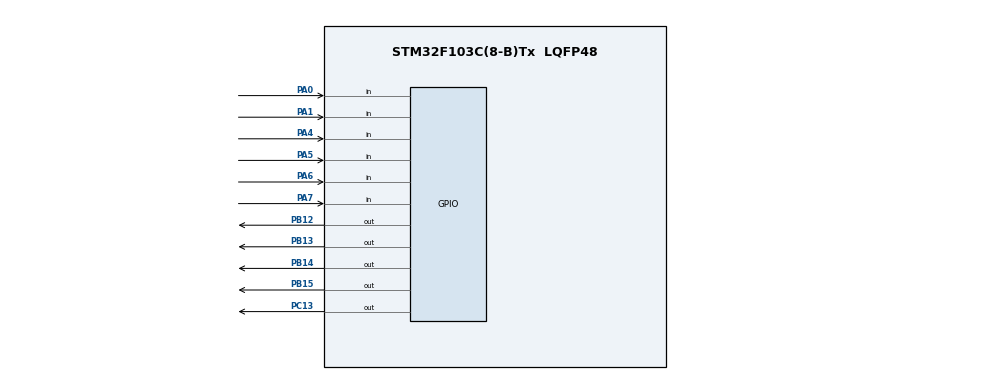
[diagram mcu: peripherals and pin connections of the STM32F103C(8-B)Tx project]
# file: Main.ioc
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Mcu.Family=STM32F1
Mcu.Name=STM32F103C(8-B)Tx
Mcu.Package=LQFP48
NVIC.PriorityGroup=NVIC_PRIORITYGROUP_4
PA0-WKUP.GPIO_PuPd=GPIO_PULLUP
PA0-WKUP.Signal=GPIO_Input
PA1.GPIO_PuPd=GPIO_PULLDOWN
PA1.Signal=GPIO_Input
PA13.Mode=Serial_Wire
PA13.Signal=SYS_JTMS-SWDIO
PA14.Mode=Serial_Wire
PA14.Signal=SYS_JTCK-SWCLK
PA4.Signal=GPIO_Input
PA5.Signal=GPIO_Input
PA6.Signal=GPIO_Input
PA7.Signal=GPIO_Input
PB12.Signal=GPIO_Output
PB13.Signal=GPIO_Output
PB14.Signal=GPIO_Output
PB15.Signal=GPIO_Output
PC13-TAMPER-RTC.PinState=GPIO_PIN_SET
PC13-TAMPER-RTC.Signal=GPIO_Output
ProjectManager.HeapSize=0x200
ProjectManager.StackSize=0x400
ProjectManager.TargetToolchain=MDK-ARM V5.32
RCC.AHBFreq_Value=8000000
RCC.APB1Freq_Value=8000000
RCC.APB1TimFreq_Value=8000000
RCC.APB2Freq_Value=8000000
RCC.APB2TimFreq_Value=8000000
RCC.HCLKFreq_Value=8000000
RCC.HSICalibrationValue=8
RCC.SYSCLKFreq_VALUE=8000000
RCC.USBFreq_Value=8000000
board=custom

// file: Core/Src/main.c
/* USER CODE BEGIN Header */
/**
  ******************************************************************************
  * @file           : main.c
  * @brief          : Main program body
  ******************************************************************************
  * @attention
  *
  * Copyright (c) 2023 STMicroelectronics.
  * All rights reserved.
  *
  * This software is licensed under terms that can be found in the LICENSE file
  * in the root directory of this software component.
  * If no LICENSE file comes with this software, it is provided AS-IS.
  *
  ******************************************************************************
  */
/* USER CODE END Header */
#include "main.h"

void SystemClock_Config(void);
static void MX_GPIO_Init(void);
/* USER CODE BEGIN PFP */
void Button1(void);
void Button2(void);
/* USER CODE END PFP */

int main(void)
{

  /* MCU Configuration--------------------------------------------------------*/

  /* Reset of all peripherals, Initializes the Flash interface and the Systick. */
  LL_APB2_GRP1_EnableClock(LL_APB2_GRP1_PERIPH_AFIO);
  LL_APB1_GRP1_EnableClock(LL_APB1_GRP1_PERIPH_PWR);

  /* System interrupt init*/
  NVIC_SetPriorityGrouping(NVIC_PRIORITYGROUP_4);

  /* SysTick_IRQn interrupt configuration */
  NVIC_SetPriority(SysTick_IRQn, NVIC_EncodePriority(NVIC_GetPriorityGrouping(),15, 0));

  /** NOJTAG: JTAG-DP Disabled and SW-DP Enabled
  */
  LL_GPIO_AF_Remap_SWJ_NOJTAG();

  /* Configure the system clock */
  SystemClock_Config();

  /* Initialize all configured peripherals */
  MX_GPIO_Init();

  /* Infinite loop */
  while (1)
  {

    /* USER CODE BEGIN 3 */
		//if(((LL_GPIO_ReadInputPort(GPIOA) & (0b1U<<0))>>0)){LL_GPIO_SetOutputPin(GPIOA,LL_GPIO_PIN_15);}
			//else{LL_GPIO_ResetOutputPin(GPIOA,LL_GPIO_PIN_15);}

		//if(((LL_GPIO_ReadInputPort(GPIOA) & (0b1U<<1))>>1)==1){LL_GPIO_SetOutputPin(GPIOA,LL_GPIO_PIN_3);}
		//if(((LL_GPIO_ReadInputPort(GPIOA) & (0b1U<<2))>>2)==0){LL_GPIO_ResetOutputPin(GPIOA,LL_GPIO_PIN_3);}
		Button1();
		Button2();

		uint32_t value=(GPIOA->IDR)>>4 & (0b1111U);
    GPIOB->ODR= ((GPIOB->ODR) & ~(0b1111<<12)) | (value<<12);
  }
  /* USER CODE END 3 */
}

void SystemClock_Config(void)
{
  LL_FLASH_SetLatency(LL_FLASH_LATENCY_0);
  while(LL_FLASH_GetLatency()!= LL_FLASH_LATENCY_0)
  {
  }
  LL_RCC_HSI_SetCalibTrimming(8);
  LL_RCC_HSI_Enable();

   /* Wait till HSI is ready */
  while(LL_RCC_HSI_IsReady() != 1)
  {

  }
  LL_RCC_SetAHBPrescaler(LL_RCC_SYSCLK_DIV_1);
  LL_RCC_SetAPB1Prescaler(LL_RCC_APB1_DIV_1);
  LL_RCC_SetAPB2Prescaler(LL_RCC_APB2_DIV_1);
  LL_RCC_SetSysClkSource(LL_RCC_SYS_CLKSOURCE_HSI);

   /* Wait till System clock is ready */
  while(LL_RCC_GetSysClkSource() != LL_RCC_SYS_CLKSOURCE_STATUS_HSI)
  {

  }
  LL_Init1msTick(8000000);
  LL_SetSystemCoreClock(8000000);
}

static void MX_GPIO_Init(void)
{
  LL_GPIO_InitTypeDef GPIO_InitStruct = {0};

  /* GPIO Ports Clock Enable */
  LL_APB2_GRP1_EnableClock(LL_APB2_GRP1_PERIPH_GPIOC);
  LL_APB2_GRP1_EnableClock(LL_APB2_GRP1_PERIPH_GPIOA);
  LL_APB2_GRP1_EnableClock(LL_APB2_GRP1_PERIPH_GPIOB);

  /**/
  LL_GPIO_SetOutputPin(GPIOC, LL_GPIO_PIN_13);

  /**/
  LL_GPIO_ResetOutputPin(GPIOB, LL_GPIO_PIN_12|LL_GPIO_PIN_13|LL_GPIO_PIN_14|LL_GPIO_PIN_15);

  /**/
  GPIO_InitStruct.Pin = LL_GPIO_PIN_13;
  GPIO_InitStruct.Mode = LL_GPIO_MODE_OUTPUT;
  GPIO_InitStruct.Speed = LL_GPIO_SPEED_FREQ_LOW;
  GPIO_InitStruct.OutputType = LL_GPIO_OUTPUT_PUSHPULL;
  LL_GPIO_Init(GPIOC, &GPIO_InitStruct);

  /**/
  GPIO_InitStruct.Pin = LL_GPIO_PIN_0;
  GPIO_InitStruct.Mode = LL_GPIO_MODE_INPUT;
  GPIO_InitStruct.Pull = LL_GPIO_PULL_UP;
  LL_GPIO_Init(GPIOA, &GPIO_InitStruct);

  /**/
  GPIO_InitStruct.Pin = LL_GPIO_PIN_1;
  GPIO_InitStruct.Mode = LL_GPIO_MODE_INPUT;
  GPIO_InitStruct.Pull = LL_GPIO_PULL_DOWN;
  LL_GPIO_Init(GPIOA, &GPIO_InitStruct);

  /**/
  GPIO_InitStruct.Pin = LL_GPIO_PIN_4|LL_GPIO_PIN_5|LL_GPIO_PIN_6|LL_GPIO_PIN_7;
  GPIO_InitStruct.Mode = LL_GPIO_MODE_FLOATING;
  LL_GPIO_Init(GPIOA, &GPIO_InitStruct);

  /**/
  GPIO_InitStruct.Pin = LL_GPIO_PIN_12|LL_GPIO_PIN_13|LL_GPIO_PIN_14|LL_GPIO_PIN_15;
  GPIO_InitStruct.Mode = LL_GPIO_MODE_OUTPUT;
  GPIO_InitStruct.Speed = LL_GPIO_SPEED_FREQ_LOW;
  GPIO_InitStruct.OutputType = LL_GPIO_OUTPUT_PUSHPULL;
  LL_GPIO_Init(GPIOB, &GPIO_InitStruct);

}

/* USER CODE BEGIN 4 */
//**********************************************
void Button1(void){
		static char status=1;

    if(!LL_GPIO_IsInputPinSet(GPIOA,LL_GPIO_PIN_0) && status==1){
				LL_mDelay(30);
				if(!LL_GPIO_IsInputPinSet(GPIOA,LL_GPIO_PIN_0)){
					status=0;
					LL_GPIO_TogglePin(GPIOC,LL_GPIO_PIN_13);
				}
		}
    else if(LL_GPIO_IsInputPinSet(GPIOA,LL_GPIO_PIN_0) && status==0){
			LL_mDelay(30);
			if(LL_GPIO_IsInputPinSet(GPIOA,LL_GPIO_PIN_0)){
				status=1;
			}
		}
}

//**********************************************
void Button2(void){
	static char status=0;

		if(LL_GPIO_IsInputPinSet(GPIOA,LL_GPIO_PIN_1) && status==0){
				LL_mDelay(30);
				if(LL_GPIO_IsInputPinSet(GPIOA,LL_GPIO_PIN_1)){
					status=1;
					LL_GPIO_SetOutputPin(GPIOC,LL_GPIO_PIN_13);
				}
		}
		else if(!LL_GPIO_IsInputPinSet(GPIOA,LL_GPIO_PIN_1) && status==1){
			LL_mDelay(30);
			if(!LL_GPIO_IsInputPinSet(GPIOA,LL_GPIO_PIN_1)){
				status=0;
			}
		}
}

//**********************************************
/*void Button2(void){
	static char status=0;

		if(((LL_GPIO_ReadInputPort(GPIOA) & (0b1U<<1))>>1)==1 && status==0){
				LL_mDelay(30);
				if(((LL_GPIO_ReadInputPort(GPIOA) & (0b1U<<1))>>1)==1){
					status=1;
					LL_GPIO_SetOutputPin(GPIOC,LL_GPIO_PIN_13);
				}
		}
		else if(((LL_GPIO_ReadInputPort(GPIOA) & (0b1U<<1))>>1)==0 && status==1){
			LL_mDelay(30);
			if(((LL_GPIO_ReadInputPort(GPIOA) & (0b1U<<1))>>1)==0){
				status=0;
			}
		}
}*/
/* USER CODE END 4 */

void Error_Handler(void)
{
  __disable_irq();
  while (1)
  {
  }
}
